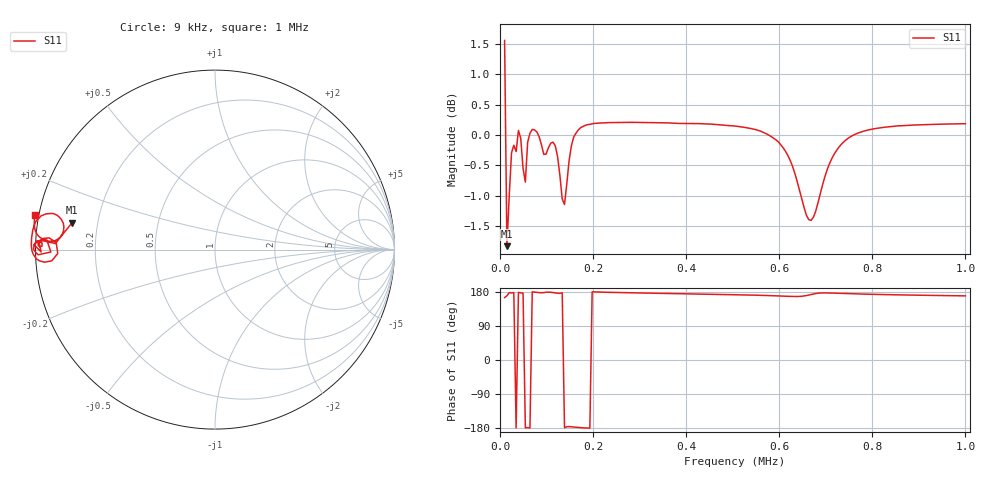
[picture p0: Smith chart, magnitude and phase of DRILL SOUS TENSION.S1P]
!Agilent Technologies,E5071C,MY46109397,A.09.54
!Date: Mon Jan 01 01:38:14 2001
!Data & Calibration Information:
!Freq	S11:SOLT1(ON)
# Hz S RI R 50
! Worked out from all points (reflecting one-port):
!   201 points, 9 kHz to 1 MHz, reference 50 ohm
!   lowest |S11| = -1.8 dB at 13.96 kHz (marker M1), VSWR 9.50, Z = 5.31 + j4.65 ohm
!   phase of S11 starts at 165 deg and turns +4 deg over the sweep
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9000  -1.154 0.3136
13955  -0.7954 0.1508
18910  -0.8894 0.034
23865  -0.9653 0.0511
33775  -0.9687 -0.0131
38730  -1.008 0.0274
48640  -0.9369 0.053
53595  -0.9142 -0.0134
58550  -0.9858 -0.0289
68460  -1.01 0.00131
93235  -0.9632 0.0363
113055  -0.9858 0.0352
127920  -0.9235 0.0652
132875  -0.8847 0.0392
137830  -0.876 -0.0218
147740  -0.95 -0.0701
172515  -1.014 -0.0241
256750  -1.023 0.0371
380625  -1.019 0.0844
504500  -1.008 0.1336
583780  -0.9803 0.1764
628375  -0.9203 0.2005
648195  -0.8668 0.1805
668015  -0.8435 0.1064
692790  -0.9083 0.0466
752250  -0.9924 0.0868
876125  -1.007 0.1517
1000000  -1.003 0.191
